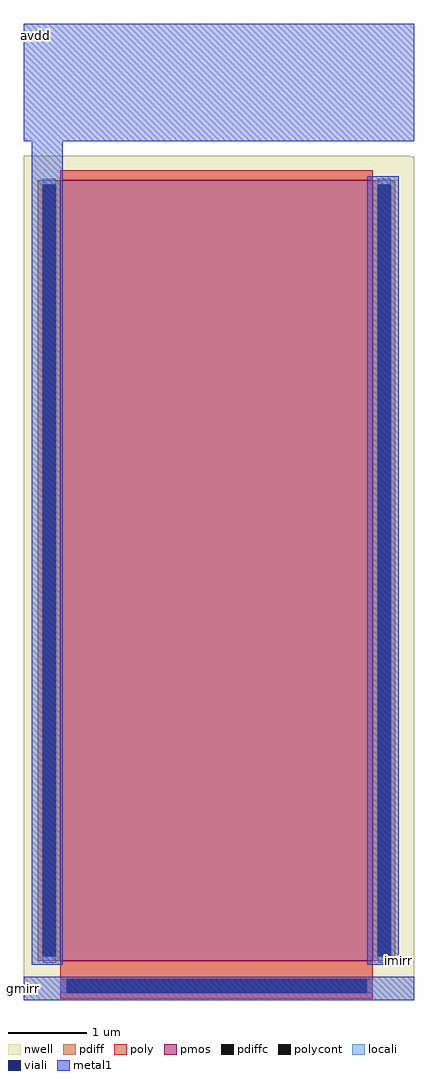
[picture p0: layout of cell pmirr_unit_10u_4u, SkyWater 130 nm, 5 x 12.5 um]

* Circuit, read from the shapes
.subckt pmirr_unit_10u_4u gmirr imirr avdd
XM1 imirr gmirr avdd n1 sky130_fd_pr__pfet_01v8 w=10 l=4
.ends

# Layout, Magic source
magic
tech sky130A
<< nwell >>
rect -1110 450 -1100 1530
<< metal1 >>
rect -1600 1550 -1100 1700
rect -1590 495 -1550 1550
rect -1160 495 -1120 1505
rect -1600 450 -1100 480
use sky130_fd_pr__pfet_01v8_QRZKJX  sky130_fd_pr__pfet_01v8_QRZKJX_1
transform 1 0 -1353 0 -1 982
box -247 -549 247 532
<< labels >>
flabel metal1 -1600 465 -1600 465 0 FreeSans 80 0 0 0 gmirr
port 3 nsew
flabel metal1 -1120 500 -1120 500 0 FreeSans 80 0 0 0 imirr
port 5 nsew
rlabel metal1 -1590 1680 -1580 1690 7 avdd
port 6 w
<< end >>

# cell sky130_fd_pr__pfet_01v8_QRZKJX: kit device sky130_fd_pr__pfet_01v8, w 10 l 4 m 1 nf 1 diffcov 100 polycov 100 guard 0 glc 0 grc 0 gtc 0 gbc 0 tbcov 100 rlcov 100 topc 1 botc 0 poverlap 0 doverlap 1 lmin 0.15 wmin 0.42 compatible {sky130_fd_pr__pfet_01v8 sky130_fd_pr__pfet_01v8_lvt sky130_fd_pr__pfet_01v8_hvt sky130_fd_pr__pfet_g5v0d10v5} full_metal 0 viasrc 100 viadrn 100 viagate 100 viagb 0 viagr 0 viagl 0 viagt 0
